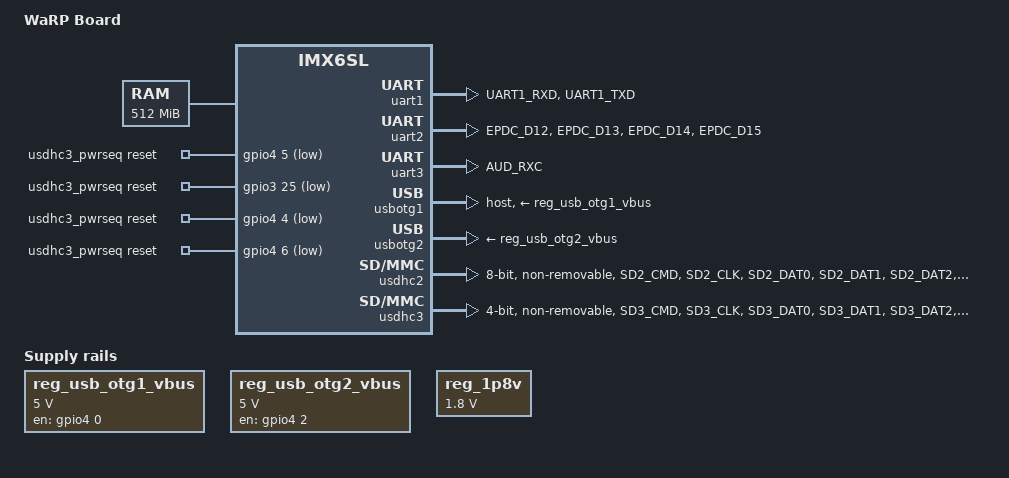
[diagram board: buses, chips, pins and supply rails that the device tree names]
/*
 * Copyright 2014, 2015 O.S. Systems Software LTDA.
 *
 * This file is dual-licensed: you can use it either under the terms
 * of the GPL or the X11 license, at your option. Note that this dual
 * licensing only applies to this file, and not this project as a
 * whole.
 *
 *  a) This file is free software; you can redistribute it and/or
 *     modify it under the terms of the GNU General Public License as
 *     published by the Free Software Foundation; either version 2 of
 *     the License, or (at your option) any later version.
 *
 *     This file is distributed in the hope that it will be useful,
 *     but WITHOUT ANY WARRANTY; without even the implied warranty of
 *     MERCHANTABILITY or FITNESS FOR A PARTICULAR PURPOSE.  See the
 *     GNU General Public License for more details.
 *
 *     You should have received a copy of the GNU General Public
 *     License along with this file; if not, write to the Free
 *     Software Foundation, Inc., 51 Franklin St, Fifth Floor, Boston,
 *     MA 02110-1301 USA
 *
 * Or, alternatively,
 *
 *  b) Permission is hereby granted, free of charge, to any person
 *     obtaining a copy of this software and associated documentation
 *     files (the "Software"), to deal in the Software without
 *     restriction, including without limitation the rights to use,
 *     copy, modify, merge, publish, distribute, sublicense, and/or
 *     sell copies of the Software, and to permit persons to whom the
 *     Software is furnished to do so, subject to the following
 *     conditions:
 *
 *     The above copyright notice and this permission notice shall be
 *     included in all copies or substantial portions of the Software.
 *
 *     THE SOFTWARE IS PROVIDED "AS IS", WITHOUT WARRANTY OF ANY KIND,
 *     EXPRESS OR IMPLIED, INCLUDING BUT NOT LIMITED TO THE WARRANTIES
 *     OF MERCHANTABILITY, FITNESS FOR A PARTICULAR PURPOSE AND
 *     NONINFRINGEMENT. IN NO EVENT SHALL THE AUTHORS OR COPYRIGHT
 *     HOLDERS BE LIABLE FOR ANY CLAIM, DAMAGES OR OTHER LIABILITY,
 *     WHETHER IN AN ACTION OF CONTRACT, TORT OR OTHERWISE, ARISING
 *     FROM, OUT OF OR IN CONNECTION WITH THE SOFTWARE OR THE USE OR
 *     OTHER DEALINGS IN THE SOFTWARE.
 */

/dts-v1/;

#include <dt-bindings/gpio/gpio.h>
#include "imx6sl.dtsi"

/ {
	model = "WaRP Board";
	compatible = "warp,imx6sl-warp", "fsl,imx6sl";

	memory {
		reg = <0x80000000 0x20000000>;
	};

	regulators {
		compatible = "simple-bus";
		#address-cells = <1>;
		#size-cells = <0>;

		reg_usb_otg1_vbus: regulator@0 {
			compatible = "regulator-fixed";
			reg = <0>;
			regulator-name = "usb_otg1_vbus";
			regulator-min-microvolt = <5000000>;
			regulator-max-microvolt = <5000000>;
			gpio = <&gpio4 0 0>;
			enable-active-high;
		};

		reg_usb_otg2_vbus: regulator@1 {
			compatible = "regulator-fixed";
			reg = <1>;
			regulator-name = "usb_otg2_vbus";
			regulator-min-microvolt = <5000000>;
			regulator-max-microvolt = <5000000>;
			gpio = <&gpio4 2 0>;
			enable-active-high;
		};

		reg_1p8v: regulator@2 {
			compatible = "regulator-fixed";
			reg = <2>;
			regulator-name = "1P8V";
			regulator-min-microvolt = <1800000>;
			regulator-max-microvolt = <1800000>;
		};
	};

	usdhc3_pwrseq: usdhc3_pwrseq {
		compatible = "mmc-pwrseq-simple";
		reset-gpios = <&gpio4 5 GPIO_ACTIVE_LOW>, 	/* WL_REG_ON */
			      <&gpio3 25 GPIO_ACTIVE_LOW>, 	/* BT_REG_ON */
			      <&gpio4 4 GPIO_ACTIVE_LOW>, 	/* BT_WAKE */
			      <&gpio4 6 GPIO_ACTIVE_LOW>; 	/* BT_RST_N */
	};
};

&uart1 {
	pinctrl-names = "default";
	pinctrl-0 = <&pinctrl_uart1>;
	status = "okay";
};

&uart2 {
	pinctrl-names = "default";
	pinctrl-0 = <&pinctrl_uart2>;
	fsl,uart-has-rtscts;
	status = "okay";
};

&uart3 {
	pinctrl-names = "default";
	pinctrl-0 = <&pinctrl_uart3>;
	status = "okay";
};

&usbotg1 {
	vbus-supply = <&reg_usb_otg1_vbus>;
	dr_mode = "host";
	disable-over-current;
	status = "okay";
};

&usbotg2 {
	vbus-supply = <&reg_usb_otg2_vbus>;
	disable-over-current;
	status = "okay";
};

&usdhc2 {
	pinctrl-names = "default", "state_100mhz", "state_200mhz";
	pinctrl-0 = <&pinctrl_usdhc2>;
	pinctrl-1 = <&pinctrl_usdhc2_100mhz>;
	pinctrl-2 = <&pinctrl_usdhc2_200mhz>;
	bus-width = <8>;
	non-removable;
	status = "okay";
};

&usdhc3 {
	pinctrl-names = "default", "state_100mhz", "state_200mhz";
	pinctrl-0 = <&pinctrl_usdhc3>;
	pinctrl-1 = <&pinctrl_usdhc3_100mhz>;
	pinctrl-2 = <&pinctrl_usdhc3_200mhz>;
	bus-width = <4>;
	non-removable;
	keep-power-in-suspend;
	enable-sdio-wakeup;
	mmc-pwrseq = <&usdhc3_pwrseq>;
	status = "okay";
};

&iomuxc {
	imx6sl-warp {
		pinctrl_uart1: uart1grp {
			fsl,pins = <
				MX6SL_PAD_UART1_RXD__UART1_RX_DATA	0x41b0b1
				MX6SL_PAD_UART1_TXD__UART1_TX_DATA	0x41b0b1
			>;
		};

		pinctrl_uart2: uart2grp {
			fsl,pins = <
				MX6SL_PAD_EPDC_D12__UART2_RX_DATA	0x41b0b1
				MX6SL_PAD_EPDC_D13__UART2_TX_DATA	0x41b0b1
				MX6SL_PAD_EPDC_D14__UART2_RTS_B		0x4130B1
				MX6SL_PAD_EPDC_D15__UART2_CTS_B		0x4130B1
			>;
		};

		pinctrl_uart3: uart3grp {
			fsl,pins = <
				MX6SL_PAD_AUD_RXC__UART3_RX_DATA	0x41b0b1
				MX6SL_PAD_AUD_RXC__UART3_TX_DATA	0x41b0b1
			>;
		};

		pinctrl_usdhc2: usdhc2grp {
			fsl,pins = <
				MX6SL_PAD_SD2_CMD__SD2_CMD		0x417059
				MX6SL_PAD_SD2_CLK__SD2_CLK		0x410059
				MX6SL_PAD_SD2_DAT0__SD2_DATA0		0x417059
				MX6SL_PAD_SD2_DAT1__SD2_DATA1		0x417059
				MX6SL_PAD_SD2_DAT2__SD2_DATA2		0x417059
				MX6SL_PAD_SD2_DAT3__SD2_DATA3		0x417059
				MX6SL_PAD_SD2_DAT4__SD2_DATA4		0x417059
				MX6SL_PAD_SD2_DAT5__SD2_DATA5		0x417059
				MX6SL_PAD_SD2_DAT6__SD2_DATA6		0x417059
				MX6SL_PAD_SD2_DAT7__SD2_DATA7		0x417059
			>;
		};

		pinctrl_usdhc2_100mhz: usdhc2grp100mhz {
			fsl,pins = <
				MX6SL_PAD_SD2_CMD__SD2_CMD		0x4170b9
				MX6SL_PAD_SD2_CLK__SD2_CLK		0x4100b9
				MX6SL_PAD_SD2_DAT0__SD2_DATA0		0x4170b9
				MX6SL_PAD_SD2_DAT1__SD2_DATA1		0x4170b9
				MX6SL_PAD_SD2_DAT2__SD2_DATA2		0x4170b9
				MX6SL_PAD_SD2_DAT3__SD2_DATA3		0x4170b9
				MX6SL_PAD_SD2_DAT4__SD2_DATA4		0x4170b9
				MX6SL_PAD_SD2_DAT5__SD2_DATA5		0x4170b9
				MX6SL_PAD_SD2_DAT6__SD2_DATA6		0x4170b9
				MX6SL_PAD_SD2_DAT7__SD2_DATA7		0x4170b9
			>;
		};

		pinctrl_usdhc2_200mhz: usdhc2grp200mhz {
			fsl,pins = <
				MX6SL_PAD_SD2_CMD__SD2_CMD		0x4170f9
				MX6SL_PAD_SD2_CLK__SD2_CLK		0x4100f9
				MX6SL_PAD_SD2_DAT0__SD2_DATA0		0x4170f9
				MX6SL_PAD_SD2_DAT1__SD2_DATA1		0x4170f9
				MX6SL_PAD_SD2_DAT2__SD2_DATA2		0x4170f9
				MX6SL_PAD_SD2_DAT3__SD2_DATA3		0x4170f9
				MX6SL_PAD_SD2_DAT4__SD2_DATA4		0x4170f9
				MX6SL_PAD_SD2_DAT5__SD2_DATA5		0x4170f9
				MX6SL_PAD_SD2_DAT6__SD2_DATA6		0x4170f9
				MX6SL_PAD_SD2_DAT7__SD2_DATA7		0x4170f9
			>;
		};

		pinctrl_usdhc3: usdhc3grp {
			fsl,pins = <
				MX6SL_PAD_SD3_CMD__SD3_CMD		0x417059
				MX6SL_PAD_SD3_CLK__SD3_CLK		0x410059
				MX6SL_PAD_SD3_DAT0__SD3_DATA0		0x417059
				MX6SL_PAD_SD3_DAT1__SD3_DATA1		0x417059
				MX6SL_PAD_SD3_DAT2__SD3_DATA2		0x417059
				MX6SL_PAD_SD3_DAT3__SD3_DATA3		0x417059
			>;
		};

		pinctrl_usdhc3_100mhz: usdhc3grp100mhz {
			fsl,pins = <
				MX6SL_PAD_SD3_CMD__SD3_CMD		0x4170b9
				MX6SL_PAD_SD3_CLK__SD3_CLK		0x4100b9
				MX6SL_PAD_SD3_DAT0__SD3_DATA0		0x4170b9
				MX6SL_PAD_SD3_DAT1__SD3_DATA1		0x4170b9
				MX6SL_PAD_SD3_DAT2__SD3_DATA2		0x4170b9
				MX6SL_PAD_SD3_DAT3__SD3_DATA3		0x4170b9
			>;
		};

		pinctrl_usdhc3_200mhz: usdhc3grp200mhz {
			fsl,pins = <
				MX6SL_PAD_SD3_CMD__SD3_CMD		0x4170f9
				MX6SL_PAD_SD3_CLK__SD3_CLK		0x4100f9
				MX6SL_PAD_SD3_DAT0__SD3_DATA0		0x4170f9
				MX6SL_PAD_SD3_DAT1__SD3_DATA1		0x4170f9
				MX6SL_PAD_SD3_DAT2__SD3_DATA2		0x4170f9
				MX6SL_PAD_SD3_DAT3__SD3_DATA3		0x4170f9
			>;
		};
	};
};
